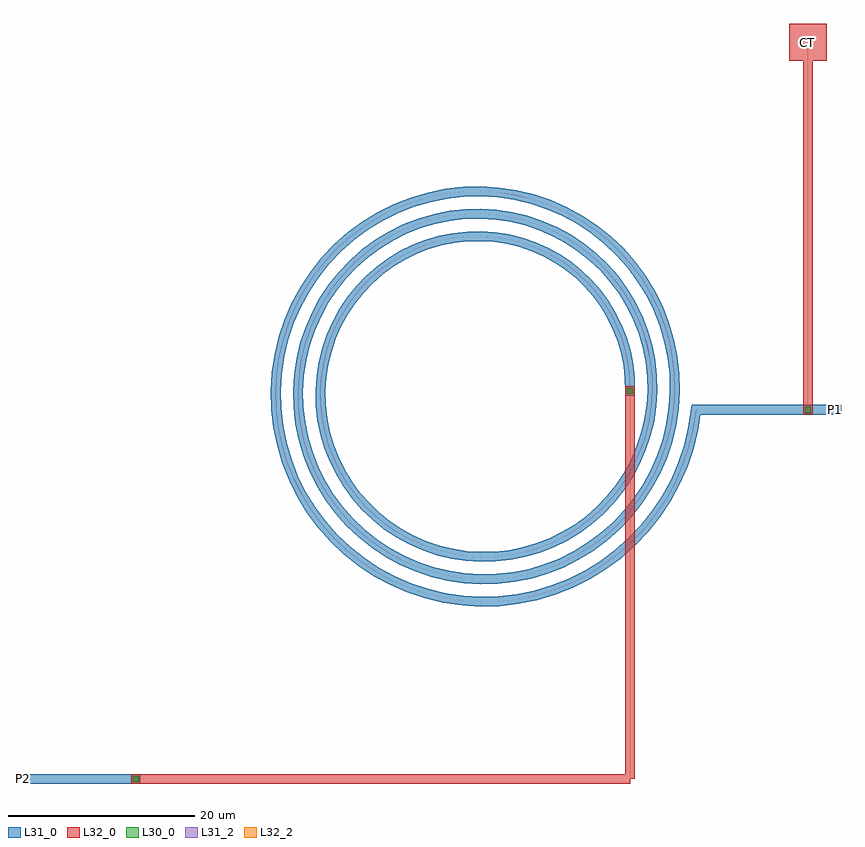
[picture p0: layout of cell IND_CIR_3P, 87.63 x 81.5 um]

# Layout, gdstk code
import gdstk
lib = gdstk.Library(unit=1e-6, precision=1e-09)
def R(c, l, rs):  # rectangles x0, y0, x1, y1
    for r in rs: c.add(gdstk.rectangle(r[:2], r[2:], *l))
def P(c, l, *ps):  # polygons
    for p in ps: c.add(gdstk.Polygon(p, *l))
L30_0 = (30, 0)
L31_0 = (31, 0)
L31_2 = (31, 2)
L32_0 = (32, 0)
L32_2 = (32, 2)

ind_cir_3p = lib.new_cell('IND_CIR_3P')
R(ind_cir_3p, L30_0, [(-37.3,-41.9,-36.7,-41.3), (34.779,-2.319,35.379,-1.719), (15.7,-0.3,16.3,0.3)])
R(ind_cir_3p, L31_0, [(-49,-42.1,-37,-41.1), (-37.5,-42.1,-36.5,-41.1), (37.529,-2.569,38.629,-1.469), (34.579,-2.519,35.579,-1.519), (15.475,-0.525,16.525,0.525)])
R(ind_cir_3p, L32_0, [(-37.5,-42.1,-36.5,-41.1), (-37,-42.1,16,-41.1), (15.5,-41.6,16.5,0), (34.579,-2.519,35.579,-1.519), (34.579,-2.019,35.579,37.4), (15.475,-0.525,16.525,0.525), (33.079,35.4,37.079,39.4)])
P(ind_cir_3p, L32_0, [(35.079,36.9),(35.079,37.9),(35.079,37.9),(35.079,36.9)])
ind_cir_3p.add(gdstk.FlexPath([(16,0),(15.972,1.397),(15.823,2.79),(15.551,4.167),(15.16,5.518),(14.652,6.832),(14.03,8.1),(13.298,9.311),(12.461,10.456),(11.526,11.526),(10.499,12.512),(9.388,13.407),(8.2,14.203),(6.945,14.894),(5.632,15.474),(4.271,15.938),(2.871,16.282),(1.444,16.504),(0,16.6),(-1.45,16.57),(-2.894,16.413),(-4.322,16.131),(-5.723,15.724),(-7.086,15.196),(-8.4,14.549),(-9.655,13.789),(-10.842,12.921),(-11.95,11.95),(-12.972,10.885),(-13.898,9.732),(-14.722,8.5),(-15.437,7.199),(-16.037,5.837),(-16.517,4.426),(-16.873,2.975),(-17.101,1.496),(-17.2,0),(-17.168,-1.502),(-17.004,-2.998),(-16.711,-4.478),(-16.288,-5.928),(-15.74,-7.339),(-15.069,-8.7),(-14.281,-9.999),(-13.38,-11.227),(-12.374,-12.374),(-11.27,-13.431),(-10.076,-14.39),(-8.8,-15.242),(-7.452,-15.981),(-6.042,-16.601),(-4.581,-17.097),(-3.079,-17.464),(-1.548,-17.699),(0,-17.8),(1.554,-17.765),(3.103,-17.595),(4.633,-17.29),(6.134,-16.852),(7.593,-16.283),(9,-15.588),(10.343,-14.772),(11.613,-13.84),(12.799,-12.799),(13.891,-11.656),(14.881,-10.42),(15.762,-9.1),(16.525,-7.706),(17.165,-6.248),(17.676,-4.736),(18.055,-3.184),(18.297,-1.601),(18.4,0),(18.363,1.607),(18.186,3.207),(17.87,4.788),(17.416,6.339),(16.827,7.847),(16.108,9.3),(15.264,10.688),(14.299,11.999),(13.223,13.223),(12.042,14.351),(10.764,15.373),(9.4,16.281),(7.959,17.069),(6.453,17.729),(4.892,18.256),(3.288,18.646),(1.653,18.894),(0,19),(-1.659,18.961),(-3.311,18.777),(-4.943,18.449),(-6.544,17.979),(-8.1,17.371),(-9.6,16.628),(-11.032,15.755),(-12.384,14.759),(-13.647,13.647),(-14.81,12.427),(-15.864,11.108),(-16.801,9.7),(-17.613,8.213),(-18.293,6.658),(-18.836,5.047),(-19.237,3.392),(-19.492,1.705),(-19.6,0),(-19.559,-1.711),(-19.368,-3.415),(-19.029,-5.099),(-18.543,-6.749),(-17.915,-8.354),(-17.147,-9.9),(-16.247,-11.376),(-15.219,-12.77),(-14.071,-14.071),(-12.813,-15.27),(-11.452,-16.356),(-10,-17.321),(-8.466,-18.156),(-6.863,-18.856),(-5.202,-19.415),(-3.496,-19.827),(-1.758,-20.09),(0,-20.2),(1.763,-20.156),(3.519,-19.959),(5.254,-19.608),(6.954,-19.107),(8.607,-18.458),(10.2,-17.667),(11.72,-16.738),(13.156,-15.678),(14.496,-14.496),(15.729,-13.199),(16.847,-11.797),(17.84,-10.3),(18.7,-8.72),(19.42,-7.068),(19.995,-5.358),(20.418,-3.6),(20.688,-1.81),(20.8,0),(20.754,1.816),(20.55,3.623),(20.188,5.409),(19.671,7.16),(19.002,8.861),(18.187,10.5),(17.229,12.064),(16.138,13.541),(14.92,14.92),(13.584,16.189),(12.141,17.339),(10.6,18.36),(8.974,19.244),(7.274,19.984),(5.513,20.574),(3.704,21.009),(1.862,21.285),(0,21.4),(-1.868,21.352),(-3.728,21.141),(-5.565,20.767),(-7.365,20.235),(-9.114,19.546),(-10.8,18.706),(-12.408,17.721),(-13.927,16.598),(-15.344,15.344),(-16.649,13.97),(-17.83,12.485),(-18.879,10.9),(-19.788,9.227),(-20.548,7.479),(-21.154,5.668),(-21.6,3.809),(-21.883,1.915),(-22,0),(-21.949,-1.92),(-21.731,-3.832),(-21.347,-5.72),(-20.799,-7.57),(-20.09,-9.368),(-19.226,-11.1),(-18.212,-12.753),(-17.057,-14.313),(-15.768,-15.768),(-14.356,-17.108),(-12.829,-18.322),(-11.2,-19.399),(-9.481,-20.332),(-7.684,-21.112),(-5.823,-21.733),(-3.913,-22.191),(-1.967,-22.481),(0,-22.6),(1.973,-22.547),(3.936,-22.322),(5.875,-21.927),(7.775,-21.362),(9.622,-20.634),(11.4,-19.745),(13.097,-18.704),(14.698,-17.517),(16.193,-16.193),(17.568,-14.741),(18.813,-13.173),(19.919,-11.5),(20.875,-9.734),(21.676,-7.889),(22.313,-5.979),(22.782,-4.017),(23.079,-2.019),(38.079,-2.019)], 1.05, ends="flush", simple_path=True, layer=31, datatype=0))  # L31_0
ind_cir_3p.add(gdstk.FlexPath([(16,0),(15.972,1.397),(15.823,2.79),(15.551,4.167),(15.16,5.518),(14.652,6.832),(14.03,8.1),(13.298,9.311),(12.461,10.456),(11.526,11.526),(10.499,12.512),(9.388,13.407),(8.2,14.203),(6.945,14.894),(5.632,15.474),(4.271,15.938),(2.871,16.282),(1.444,16.504),(0,16.6),(-1.45,16.57),(-2.894,16.413),(-4.322,16.131),(-5.723,15.724),(-7.086,15.196),(-8.4,14.549),(-9.655,13.789),(-10.842,12.921),(-11.95,11.95),(-12.972,10.885),(-13.898,9.732),(-14.722,8.5),(-15.437,7.199),(-16.037,5.837),(-16.517,4.426),(-16.873,2.975),(-17.101,1.496),(-17.2,0),(-17.168,-1.502),(-17.004,-2.998),(-16.711,-4.478),(-16.288,-5.928),(-15.74,-7.339),(-15.069,-8.7),(-14.281,-9.999),(-13.38,-11.227),(-12.374,-12.374),(-11.27,-13.431),(-10.076,-14.39),(-8.8,-15.242),(-7.452,-15.981),(-6.042,-16.601),(-4.581,-17.097),(-3.079,-17.464),(-1.548,-17.699),(0,-17.8),(1.554,-17.765),(3.103,-17.595),(4.633,-17.29),(6.134,-16.852),(7.593,-16.283),(9,-15.588),(10.343,-14.772),(11.613,-13.84),(12.799,-12.799),(13.891,-11.656),(14.881,-10.42),(15.762,-9.1),(16.525,-7.706),(17.165,-6.248),(17.676,-4.736),(18.055,-3.184),(18.297,-1.601),(18.4,0),(18.363,1.607),(18.186,3.207),(17.87,4.788),(17.416,6.339),(16.827,7.847),(16.108,9.3),(15.264,10.688),(14.299,11.999),(13.223,13.223),(12.042,14.351),(10.764,15.373),(9.4,16.281),(7.959,17.069),(6.453,17.729),(4.892,18.256),(3.288,18.646),(1.653,18.894),(0,19),(-1.659,18.961),(-3.311,18.777),(-4.943,18.449),(-6.544,17.979),(-8.1,17.371),(-9.6,16.628),(-11.032,15.755),(-12.384,14.759),(-13.647,13.647),(-14.81,12.427),(-15.864,11.108),(-16.801,9.7),(-17.613,8.213),(-18.293,6.658),(-18.836,5.047),(-19.237,3.392),(-19.492,1.705),(-19.6,0),(-19.559,-1.711),(-19.368,-3.415),(-19.029,-5.099),(-18.543,-6.749),(-17.915,-8.354),(-17.147,-9.9),(-16.247,-11.376),(-15.219,-12.77),(-14.071,-14.071),(-12.813,-15.27),(-11.452,-16.356),(-10,-17.321),(-8.466,-18.156),(-6.863,-18.856),(-5.202,-19.415),(-3.496,-19.827),(-1.758,-20.09),(0,-20.2),(1.763,-20.156),(3.519,-19.959),(5.254,-19.608),(6.954,-19.107),(8.607,-18.458),(10.2,-17.667),(11.72,-16.738),(13.156,-15.678),(14.496,-14.496),(15.729,-13.199),(16.847,-11.797),(17.84,-10.3),(18.7,-8.72),(19.42,-7.068),(19.995,-5.358),(20.418,-3.6),(20.688,-1.81),(20.8,0),(20.754,1.816),(20.55,3.623),(20.188,5.409),(19.671,7.16),(19.002,8.861),(18.187,10.5),(17.229,12.064),(16.138,13.541),(14.92,14.92),(13.584,16.189),(12.141,17.339),(10.6,18.36),(8.974,19.244),(7.274,19.984),(5.513,20.574),(3.704,21.009),(1.862,21.285),(0,21.4),(-1.868,21.352),(-3.728,21.141),(-5.565,20.767),(-7.365,20.235),(-9.114,19.546),(-10.8,18.706),(-12.408,17.721),(-13.927,16.598),(-15.344,15.344),(-16.649,13.97),(-17.83,12.485),(-18.879,10.9),(-19.788,9.227),(-20.548,7.479),(-21.154,5.668),(-21.6,3.809),(-21.883,1.915),(-22,0),(-21.949,-1.92),(-21.731,-3.832),(-21.347,-5.72),(-20.799,-7.57),(-20.09,-9.368),(-19.226,-11.1),(-18.212,-12.753),(-17.057,-14.313),(-15.768,-15.768),(-14.356,-17.108),(-12.829,-18.322),(-11.2,-19.399),(-9.481,-20.332),(-7.684,-21.112),(-5.823,-21.733),(-3.913,-22.191),(-1.967,-22.481),(0,-22.6),(1.973,-22.547),(3.936,-22.322),(5.875,-21.927),(7.775,-21.362),(9.622,-20.634),(11.4,-19.745),(13.097,-18.704),(14.698,-17.517),(16.193,-16.193),(17.568,-14.741),(18.813,-13.173),(19.919,-11.5),(20.875,-9.734),(21.676,-7.889),(22.313,-5.979),(22.782,-4.017),(23.079,-2.019),(38.079,-2.019)], 0.001, ends="extended", simple_path=True, layer=31, datatype=2))  # L31_2
ind_cir_3p.add(gdstk.FlexPath([(16,0),(16,-41.6),(-37,-41.6)], 0.001, ends="extended", simple_path=True, layer=32, datatype=2))  # L32_2
ind_cir_3p.add(gdstk.FlexPath([(35.079,-2.019),(35.079,37.4),(35.079,37.4)], 0.001, ends="extended", simple_path=True, layer=32, datatype=2))  # L32_2
ind_cir_3p.add(gdstk.Label('P1', (38.079,-2.019), layer=31, texttype=1))
ind_cir_3p.add(gdstk.Label('P2', (-49,-41.6), layer=31, texttype=1))
ind_cir_3p.add(gdstk.Label('CT', (35.079,37.4), layer=32, texttype=1))

lib.write_gds('IND_CIR_3P.gds')
